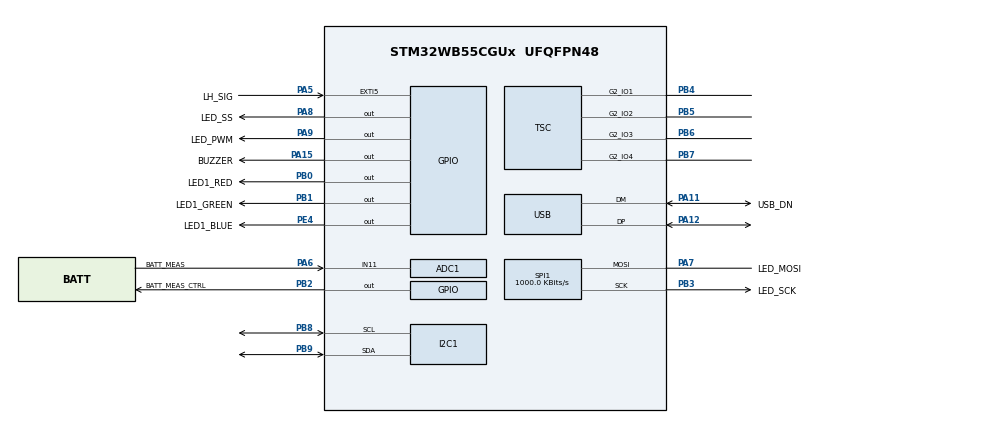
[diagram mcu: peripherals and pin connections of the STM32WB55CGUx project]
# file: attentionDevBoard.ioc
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ADC1.Channel-0\#ChannelRegularConversion=ADC_CHANNEL_11
ADC1.NbrOfConversionFlag=1
ADC1.OffsetNumber-0\#ChannelRegularConversion=ADC_OFFSET_NONE
ADC1.Rank-0\#ChannelRegularConversion=1
ADC1.SamplingTime-0\#ChannelRegularConversion=ADC_SAMPLETIME_2CYCLES_5
ADC1.master=1
FREERTOS.Tasks01=defaultTask,0,128,StartDefaultTask,Default,NULL
FREERTOS.configTOTAL_HEAP_SIZE=6072
I2C1.Timeout=0x0000830D
I2C1.Timing=0x10707DBC
Mcu.Family=STM32WB
Mcu.Name=STM32WB55CGUx
Mcu.Package=UFQFPN48
NVIC.I2C1_EV_IRQn=true\:5\:0\:false\:false\:true\:true\:true\:true
NVIC.PriorityGroup=NVIC_PRIORITYGROUP_4
NVIC.TIM1_UP_TIM16_IRQn=true\:0\:0\:false\:false\:true\:false\:false\:true
NVIC.TSC_IRQn=true\:5\:0\:false\:false\:true\:true\:true\:true
NVIC.TimeBase=TIM1_UP_TIM16_IRQn
NVIC.TimeBaseIP=TIM1
OSC_IN.Mode=HSE-External-Oscillator
OSC_IN.Signal=RCC_OSC_IN
OSC_OUT.Mode=HSE-External-Oscillator
OSC_OUT.Signal=RCC_OSC_OUT
PA11.GPIO_Label=USB_DN
PA11.Mode=Device
PA11.Signal=USB_DM
PA12.Mode=Device
PA12.Signal=USB_DP
PA13.Mode=Serial_Wire
PA13.Signal=SYS_JTMS-SWDIO
PA14.Mode=Serial_Wire
PA14.Signal=SYS_JTCK-SWCLK
PA15.GPIO_Label=BUZZER
PA15.Signal=GPIO_Output
PA5.GPIO_Label=LH_SIG
PA5.Signal=GPXTI5
PA6.GPIO_Label=BATT_MEAS
PA6.Signal=ADCx_IN11
PA7.GPIO_Label=LED_MOSI
PA7.Mode=Simplex_Bidirectional_Master
PA7.Signal=SPI1_MOSI
PA8.GPIO_Label=LED_SS
PA8.Signal=GPIO_Output
PA9.GPIO_Label=LED_PWM
PA9.Signal=GPIO_Output
PB0.GPIO_Label=LED1_RED
PB0.PinState=GPIO_PIN_SET
PB0.Signal=GPIO_Output
PB1.GPIO_Label=LED1_GREEN
PB1.GPIO_ModeDefaultOutputPP=GPIO_MODE_OUTPUT_OD
PB1.PinState=GPIO_PIN_SET
PB1.Signal=GPIO_Output
PB2.GPIO_Label=BATT_MEAS_CTRL
PB2.GPIO_ModeDefaultOutputPP=GPIO_MODE_OUTPUT_OD
PB2.GPIO_PuPd=GPIO_NOPULL
PB2.PinState=GPIO_PIN_SET
PB2.Signal=GPIO_Output
PB3.GPIO_Label=LED_SCK
PB3.Mode=Simplex_Bidirectional_Master
PB3.Signal=SPI1_SCK
PB4.Mode=G2_IO1-Sampling
PB4.Signal=TSC_G2_IO1
PB5.Mode=G2_IO2-Channel
PB5.Signal=TSC_G2_IO2
PB6.Mode=G2_IO3-Channel
PB6.Signal=TSC_G2_IO3
PB7.Mode=G2_IO4-Channel
PB7.Signal=TSC_G2_IO4
PB8.Mode=I2C
PB8.Signal=I2C1_SCL
PB9.Mode=I2C
PB9.Signal=I2C1_SDA
PC14-OSC32_IN.Mode=LSE-External-Oscillator
PC14-OSC32_IN.Signal=RCC_OSC32_IN
PC15-OSC32_OUT.Mode=LSE-External-Oscillator
PC15-OSC32_OUT.Signal=RCC_OSC32_OUT
PE4.GPIO_Label=LED1_BLUE
PE4.PinState=GPIO_PIN_SET
PE4.Signal=GPIO_Output
ProjectManager.HeapSize=0x200
ProjectManager.StackSize=0x400
ProjectManager.TargetToolchain=TrueSTUDIO
RCC.ADCFreq_Value=48000000
RCC.AHB2CLKDivider=RCC_SYSCLK_DIV2
RCC.AHBFreq_Value=64000000
RCC.APB1Freq_Value=64000000
RCC.APB1TimFreq_Value=64000000
RCC.APB2Freq_Value=64000000
RCC.APB2TimFreq_Value=64000000
RCC.APB3Freq_Value=16000000
RCC.CortexFreq_Value=64000000
RCC.HCLKFreq_Value=64000000
RCC.HSE_VALUE=32000000
RCC.HSI48_VALUE=48000000
RCC.HSI_VALUE=16000000
RCC.PLLN=32
RCC.PLLSAI1N=24
RCC.SYSCLKFreq_VALUE=64000000
RCC.SYSCLKSource=RCC_SYSCLKSOURCE_PLLCLK
RCC.USBFreq_Value=48000000
RCC.VCOOutputFreq_Value=128000000
RF1.Mode=RF1_Activate
RF1.Signal=RF_RF1
SH.ADCx_IN11.0=ADC1_IN11,IN11-Single-Ended
SPI1.BaudRatePrescaler=SPI_BAUDRATEPRESCALER_64
SPI1.CLKPhase=SPI_PHASE_2EDGE
SPI1.CLKPolarity=SPI_POLARITY_HIGH
SPI1.CalculateBaudRate=1000.0 KBits/s
SPI1.DataSize=SPI_DATASIZE_8BIT
SPI1.Direction=SPI_DIRECTION_1LINE
SPI1.Mode=SPI_MODE_MASTER
SPI1.VirtualType=VM_MASTER
TOUCHSENSING.IO_3CH_LIN_M1_B_NBR1_CH1=G2_IO2
TOUCHSENSING.IO_3CH_LIN_M1_B_NBR1_CH2=G2_IO3
TOUCHSENSING.IO_3CH_LIN_M1_B_NBR1_CH3=G2_IO4
TOUCHSENSING.TSLPRM_SENSORS_DATAS=TSLPRM_USE_3CH_LIN_M1_B_NBR1 3 1 1 1 
TOUCHSENSING.TSLPRM_USE_3CH_LIN_M1=1
TOUCHSENSING.TSLPRM_USE_3CH_LIN_M1_B_NBR=1
TSC.CTPulseHighLength=TSC_CTPH_1CYCLE
TSC.CTPulseLowLength=TSC_CTPL_1CYCLE
TSC.ChannelIOs-G2_IO2=TSC_GROUP2_IO2
TSC.ChannelIOs-G2_IO2-Channel=TSC_GROUP2_IO2
TSC.ChannelIOs-G2_IO3=TSC_GROUP2_IO3
TSC.ChannelIOs-G2_IO3-Channel=TSC_GROUP2_IO3
TSC.ChannelIOs-G2_IO4=TSC_GROUP2_IO4
TSC.ChannelIOs-G2_IO4-Channel=TSC_GROUP2_IO4
TSC.MaxCountValue=TSC_MCV_511
TSC.SamplingIOs=TSC_GROUP2_IO1
TSC.SpreadSpectrum=DISABLE
VP_FREERTOS_VS_CMSIS_V1.Mode=CMSIS_V1
VP_SYS_VS_tim1.Mode=TIM1
VP_TOUCHSENSING_VS_TOUCHSENSING.Mode=TouchSensing_Enabled
board=custom

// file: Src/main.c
/* USER CODE BEGIN Header */
/**
  ******************************************************************************
  * @file           : main.c
  * @brief          : Main program body
  ******************************************************************************
  * @attention
  *
  * <h2><center>&copy; Copyright (c) 2019 STMicroelectronics.
  * All rights reserved.</center></h2>
  *
  * This software component is licensed by ST under BSD 3-Clause license,
  * the "License"; You may not use this file except in compliance with the
  * License. You may obtain a copy of the License at:
  *                        opensource.org/licenses/BSD-3-Clause
  *
  ******************************************************************************
  */
/* USER CODE END Header */

#include "main.h"
#include "cmsis_os.h"
#include "adc.h"
#include "i2c.h"
#include "rf.h"
#include "spi.h"
#include "touchsensing.h"
#include "tsc.h"
#include "usb.h"
#include "gpio.h"

void SystemClock_Config(void);
void MX_FREERTOS_Init(void);

int main(void)
{

  /* MCU Configuration--------------------------------------------------------*/

  /* Reset of all peripherals, Initializes the Flash interface and the Systick. */
  HAL_Init();

  /* Configure the system clock */
  SystemClock_Config();

  /* Initialize all configured peripherals */
  MX_GPIO_Init();
  MX_ADC1_Init();
  MX_I2C1_Init();
  MX_RF_Init();
  MX_TSC_Init();
  MX_USB_PCD_Init();
  MX_SPI1_Init();

  /* Call init function for freertos objects (in freertos.c) */
  MX_FREERTOS_Init();

  /* Start scheduler */
  osKernelStart();

  /* We should never get here as control is now taken by the scheduler */

  /* Infinite loop */
  while (1)
  {

  }
}

void SystemClock_Config(void)
{
  RCC_OscInitTypeDef RCC_OscInitStruct = {0};
  RCC_ClkInitTypeDef RCC_ClkInitStruct = {0};
  RCC_PeriphCLKInitTypeDef PeriphClkInitStruct = {0};

  /** Configure LSE Drive Capability
  */
  __HAL_RCC_LSEDRIVE_CONFIG(RCC_LSEDRIVE_LOW);
  /** Configure the main internal regulator output voltage
  */
  __HAL_PWR_VOLTAGESCALING_CONFIG(PWR_REGULATOR_VOLTAGE_SCALE1);
  /** Initializes the CPU, AHB and APB busses clocks
  */
  RCC_OscInitStruct.OscillatorType = RCC_OSCILLATORTYPE_HSI|RCC_OSCILLATORTYPE_LSI1
                              |RCC_OSCILLATORTYPE_HSE|RCC_OSCILLATORTYPE_LSE
                              |RCC_OSCILLATORTYPE_MSI;
  RCC_OscInitStruct.HSEState = RCC_HSE_ON;
  RCC_OscInitStruct.LSEState = RCC_LSE_ON;
  RCC_OscInitStruct.HSIState = RCC_HSI_ON;
  RCC_OscInitStruct.MSIState = RCC_MSI_ON;
  RCC_OscInitStruct.HSICalibrationValue = RCC_HSICALIBRATION_DEFAULT;
  RCC_OscInitStruct.MSICalibrationValue = RCC_MSICALIBRATION_DEFAULT;
  RCC_OscInitStruct.MSIClockRange = RCC_MSIRANGE_6;
  RCC_OscInitStruct.LSIState = RCC_LSI_ON;
  RCC_OscInitStruct.PLL.PLLState = RCC_PLL_ON;
  RCC_OscInitStruct.PLL.PLLSource = RCC_PLLSOURCE_MSI;
  RCC_OscInitStruct.PLL.PLLM = RCC_PLLM_DIV1;
  RCC_OscInitStruct.PLL.PLLN = 32;
  RCC_OscInitStruct.PLL.PLLP = RCC_PLLP_DIV2;
  RCC_OscInitStruct.PLL.PLLR = RCC_PLLR_DIV2;
  RCC_OscInitStruct.PLL.PLLQ = RCC_PLLQ_DIV2;
  if (HAL_RCC_OscConfig(&RCC_OscInitStruct) != HAL_OK)
  {
    Error_Handler();
  }
  /** Configure the SYSCLKSource, HCLK, PCLK1 and PCLK2 clocks dividers
  */
  RCC_ClkInitStruct.ClockType = RCC_CLOCKTYPE_HCLK4|RCC_CLOCKTYPE_HCLK2
                              |RCC_CLOCKTYPE_HCLK|RCC_CLOCKTYPE_SYSCLK
                              |RCC_CLOCKTYPE_PCLK1|RCC_CLOCKTYPE_PCLK2;
  RCC_ClkInitStruct.SYSCLKSource = RCC_SYSCLKSOURCE_PLLCLK;
  RCC_ClkInitStruct.AHBCLKDivider = RCC_SYSCLK_DIV1;
  RCC_ClkInitStruct.APB1CLKDivider = RCC_HCLK_DIV1;
  RCC_ClkInitStruct.APB2CLKDivider = RCC_HCLK_DIV1;
  RCC_ClkInitStruct.AHBCLK2Divider = RCC_SYSCLK_DIV2;
  RCC_ClkInitStruct.AHBCLK4Divider = RCC_SYSCLK_DIV1;

  if (HAL_RCC_ClockConfig(&RCC_ClkInitStruct, FLASH_LATENCY_3) != HAL_OK)
  {
    Error_Handler();
  }
  /** Initializes the peripherals clocks
  */
  PeriphClkInitStruct.PeriphClockSelection = RCC_PERIPHCLK_SMPS|RCC_PERIPHCLK_RFWAKEUP
                              |RCC_PERIPHCLK_I2C1|RCC_PERIPHCLK_USB
                              |RCC_PERIPHCLK_ADC;
  PeriphClkInitStruct.PLLSAI1.PLLN = 24;
  PeriphClkInitStruct.PLLSAI1.PLLP = RCC_PLLP_DIV2;
  PeriphClkInitStruct.PLLSAI1.PLLQ = RCC_PLLQ_DIV2;
  PeriphClkInitStruct.PLLSAI1.PLLR = RCC_PLLR_DIV2;
  PeriphClkInitStruct.PLLSAI1.PLLSAI1ClockOut = RCC_PLLSAI1_USBCLK|RCC_PLLSAI1_ADCCLK;
  PeriphClkInitStruct.I2c1ClockSelection = RCC_I2C1CLKSOURCE_PCLK1;
  PeriphClkInitStruct.UsbClockSelection = RCC_USBCLKSOURCE_PLLSAI1;
  PeriphClkInitStruct.AdcClockSelection = RCC_ADCCLKSOURCE_PLLSAI1;
  PeriphClkInitStruct.RFWakeUpClockSelection = RCC_RFWKPCLKSOURCE_LSI;
  PeriphClkInitStruct.SmpsClockSelection = RCC_SMPSCLKSOURCE_HSE;
  PeriphClkInitStruct.SmpsDivSelection = RCC_SMPSCLKDIV_RANGE0;

  if (HAL_RCCEx_PeriphCLKConfig(&PeriphClkInitStruct) != HAL_OK)
  {
    Error_Handler();
  }
  /** Enable MSI Auto calibration
  */
  HAL_RCCEx_EnableMSIPLLMode();
}

/* USER CODE BEGIN 4 */
uint8_t temp_var = 0;
void HAL_TSC_ConvCpltCallback(TSC_HandleTypeDef *htsc)
{
  /* Prevent unused argument(s) compilation warning */
  HAL_GPIO_TogglePin(LED1_BLUE_GPIO_Port, LED1_BLUE_Pin);
  if (HAL_TSC_GroupGetStatus(htsc, TSC_GROUP2_IDX) == TSC_GROUP_COMPLETED){
    temp_var = HAL_TSC_GroupGetValue(htsc, TSC_GROUP2_IDX);
  }

//  TSC_GROUP2_IO2
//  TSC_GROUP2_IO3
//  TSC_GROUP2_IO4
  /* NOTE : This function should not be modified, when the callback is needed,
            the HAL_TSC_ConvCpltCallback could be implemented in the user file.
   */
}
/* USER CODE END 4 */

void HAL_TIM_PeriodElapsedCallback(TIM_HandleTypeDef *htim)
{
  if (htim->Instance == TIM1) {
    HAL_IncTick();
  }
}

void Error_Handler(void)
{
}

/************************ (C) COPYRIGHT STMicroelectronics *****END OF FILE****/

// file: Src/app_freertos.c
/* USER CODE BEGIN Header */
/**
  ******************************************************************************
  * File Name          : app_freertos.c
  * Description        : Code for freertos applications
  ******************************************************************************
  * @attention
  *
  * <h2><center>&copy; Copyright (c) 2019 STMicroelectronics.
  * All rights reserved.</center></h2>
  *
  * This software component is licensed by ST under Ultimate Liberty license
  * SLA0044, the "License"; You may not use this file except in compliance with
  * the License. You may obtain a copy of the License at:
  *                             www.st.com/SLA0044
  *
  ******************************************************************************
  */
/* USER CODE END Header */

#include "FreeRTOS.h"
#include "task.h"
#include "main.h"
#include "cmsis_os.h"

/* USER CODE BEGIN Includes */
#include "lights.h"
#include "accMag.h"
#include "touch.h"
/* USER CODE END Includes */

/* USER CODE BEGIN Variables */
osThreadId shiftRegLightsHandle;
osThreadId rgbLightHandle;
osThreadId accMagHandle;
osThreadId touchSensingHandle;

/* USER CODE END Variables */
osThreadId defaultTaskHandle;

void StartDefaultTask(void const * argument);

extern void MX_TOUCHSENSING_Init(void);
void MX_FREERTOS_Init(void); /* (MISRA C 2004 rule 8.1) */

void MX_FREERTOS_Init(void) {

  /* Create the thread(s) */
  /* definition and creation of defaultTask */
  osThreadDef(defaultTask, StartDefaultTask, osPriorityNormal, 0, 128);
  defaultTaskHandle = osThreadCreate(osThread(defaultTask), NULL);

}

void StartDefaultTask(void const * argument)
{
  /* init code for TOUCHSENSING */
  MX_TOUCHSENSING_Init();

  /* USER CODE BEGIN StartDefaultTask */
  osThreadDef(shiftRegLightsTask, ShiftRegLightThread, osPriorityNormal, 0, 128);
  osThreadDef(rgbLightTask, RGB_LightThread, osPriorityNormal, 0, 128);
  //osThreadDef(accMagTask, accMagThread, osPriorityNormal, 0, 128);
  osThreadDef(touchSensingTask, touchSensingThread, osPriorityNormal, 0, 128);

  shiftRegLightsHandle = osThreadCreate(osThread(shiftRegLightsTask), NULL);
  //rgbLightHandle = osThreadCreate(osThread(rgbLightTask), NULL);
  //accMagHandle = osThreadCreate(osThread(accMagTask), NULL);
  touchSensingHandle = osThreadCreate(osThread(touchSensingTask), NULL);

  /* Infinite loop */
  for(;;)
  {
    osDelay(1);
  }
  /* USER CODE END StartDefaultTask */
}

/************************ (C) COPYRIGHT STMicroelectronics *****END OF FILE****/
